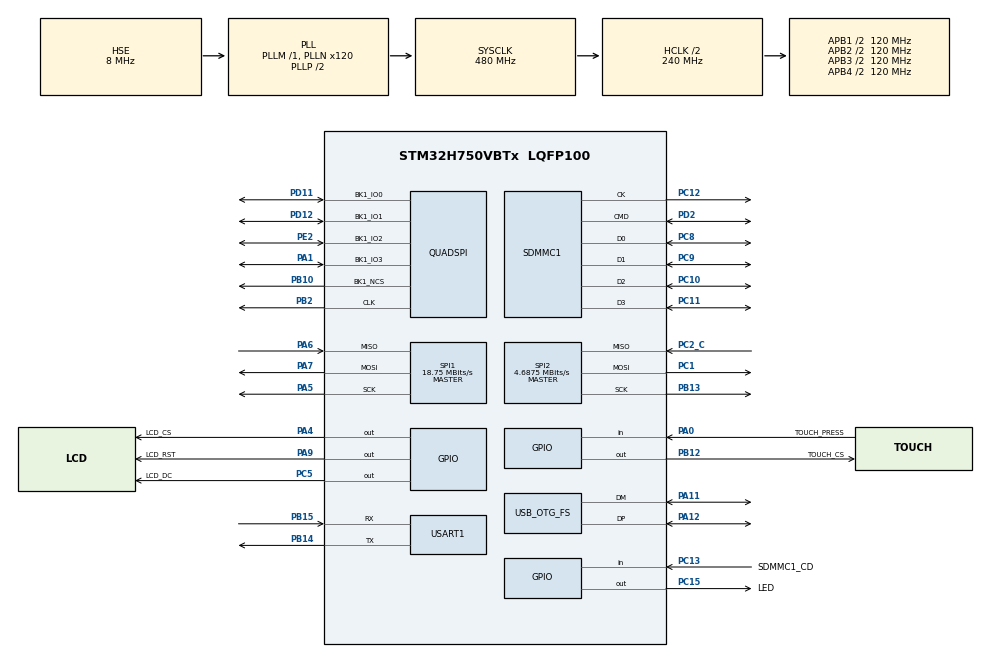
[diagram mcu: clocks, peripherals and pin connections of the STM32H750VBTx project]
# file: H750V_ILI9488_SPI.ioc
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Mcu.Family=STM32H7
PA6.Mode=Full_Duplex_Master
RCC.CortexFreq_Value=480000000
SPI1.VirtualType=VM_MASTER
SPI2.VirtualType=VM_MASTER
PB10.Mode=Single Bank 1
RCC.HPRE=RCC_HCLK_DIV2
PH0-OSC_IN\ (PH0).Signal=RCC_OSC_IN
PC10.Signal=SDMMC1_D2
PC12.Signal=SDMMC1_CK
RCC.PLLFRACN=0
PA0.GPIO_Label=TOUCH_PRESS
PA11.Mode=Device_Only
RCC.PLL2FRACN=6144
PC13.GPIO_Label=SDMMC1_CD
PB15.Signal=USART1_RX
PB13.Signal=SPI2_SCK
RCC.SYSCLKSource=RCC_SYSCLKSOURCE_PLLCLK
ProjectManager.StackSize=0x1000
RCC.SPI123CLockSelection=RCC_SPI123CLKSOURCE_PLL2
PA14\ (JTCK/SWCLK).Signal=DEBUG_JTCK-SWCLK
PA12.Signal=USB_OTG_FS_DP
SPI1.Direction=SPI_DIRECTION_2LINES
RCC.HCLKFreq_Value=240000000
PE2.Mode=Single Bank 1
SPI1.CalculateBaudRate=18.75 MBits/s
PC2_C.Signal=SPI2_MISO
SPI2.BaudRatePrescaler=SPI_BAUDRATEPRESCALER_32
PH1-OSC_OUT\ (PH1).Mode=HSE-External-Oscillator
RCC.HSE_VALUE=8000000
PB2.Signal=QUADSPI_CLK
RCC.DIVM2=1
RCC.DIVM1=1
PB12.GPIO_Label=TOUCH_CS
PB14.Mode=Asynchronous
SPI1.DataSize=SPI_DATASIZE_8BIT
PC9.Mode=SD_4_bits_Wide_bus
SPI2.CalculateBaudRate=4.6875 MBits/s
PE2.Signal=QUADSPI_BK1_IO2
PA14\ (JTCK/SWCLK).Mode=Serial_Wire
PA0.Signal=GPIO_Input
RCC.APB3Freq_Value=120000000
Mcu.Package=LQFP100
PA6.Signal=SPI1_MISO
SPI2.Mode=SPI_MODE_MASTER
RCC.PLL3FRACN=0
RCC.D1PPRE=RCC_APB3_DIV2
RCC.SDMMC1CLockSelection=RCC_SDMMCCLKSOURCE_PLL2
PD12.Signal=QUADSPI_BK1_IO1
USB_OTG_FS.VirtualMode=Device_Only
PC11.Mode=SD_4_bits_Wide_bus
RCC.APB4Freq_Value=120000000
SPI2.Direction=SPI_DIRECTION_2LINES
PC5.Signal=GPIO_Output
PB13.Mode=Full_Duplex_Master
SPI1.BaudRatePrescaler=SPI_BAUDRATEPRESCALER_8
PH0-OSC_IN\ (PH0).Mode=HSE-External-Oscillator
PA4.GPIO_Label=LCD_CS
PA5.Mode=Full_Duplex_Master
RCC.DIVQ1=20
PA7.Mode=Full_Duplex_Master
PA13\ (JTMS/SWDIO).Mode=Serial_Wire
PC11.Signal=SDMMC1_D3
PA9.GPIO_Label=LCD_RST
PC13.Signal=GPIO_Input
PC8.Signal=SDMMC1_D0
PC10.Mode=SD_4_bits_Wide_bus
RCC.D2PPRE2=RCC_APB2_DIV2
RCC.D2PPRE1=RCC_APB1_DIV2
RCC.DIVP2=1
VP_RNG_VS_RNG.Mode=RNG_Activate
PH1-OSC_OUT\ (PH1).Signal=RCC_OSC_OUT
USART1.VirtualMode-Asynchronous=VM_ASYNC
PA4.PinState=GPIO_PIN_SET
ProjectManager.TargetToolchain=Makefile
PC15-OSC32_OUT\ (OSC32_OUT).Signal=GPIO_Output
PA9.Signal=GPIO_Output
RCC.DIVN2=18
RCC.DIVN1=120
PA9.PinState=GPIO_PIN_SET
PC2_C.Mode=Full_Duplex_Master
RCC.USBFreq_Value=48000000
PA1.Signal=QUADSPI_BK1_IO3
PB10.Signal=QUADSPI_BK1_NCS
PB14.Signal=USART1_TX
PD2.Mode=SD_4_bits_Wide_bus
PA5.Signal=SPI1_SCK
PC12.Mode=SD_4_bits_Wide_bus
board=custom
PB15.Mode=Asynchronous
RCC.APB2Freq_Value=120000000
PA1.Mode=Single Bank 1
SPI1.Mode=SPI_MODE_MASTER
RCC.ADCFreq_Value=150000000
Mcu.Name=STM32H750VBTx
PC8.Mode=SD_4_bits_Wide_bus
PA4.Signal=GPIO_Output
RCC.SYSCLKFreq_VALUE=480000000
PD12.Mode=Single Bank 1
PC5.PinState=GPIO_PIN_SET
PA12.Mode=Device_Only
PC15-OSC32_OUT\ (OSC32_OUT).GPIO_Label=LED
PC5.GPIO_Label=LCD_DC
PD11.Signal=QUADSPI_BK1_IO0
PB2.Mode=Single Bank 1
RCC.QSPICLockSelection=RCC_QSPICLKSOURCE_PLL2
PA11.Signal=USB_OTG_FS_DM
ProjectManager.HeapSize=0x200
PD11.Mode=Single Bank 1
NVIC.PriorityGroup=NVIC_PRIORITYGROUP_4
RCC.D3PPRE=RCC_APB4_DIV2
SPI2.DataSize=SPI_DATASIZE_8BIT
PC9.Signal=SDMMC1_D1
PD2.Signal=SDMMC1_CMD
RCC.APB1Freq_Value=120000000
RCC.DIVR2=1
PC1.Signal=SPI2_MOSI
PB12.Signal=GPIO_Output
PA13\ (JTMS/SWDIO).Signal=DEBUG_JTMS-SWDIO
PC1.Mode=Full_Duplex_Master
PA7.Signal=SPI1_MOSI

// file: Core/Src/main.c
/* USER CODE BEGIN Header */
/**
  ******************************************************************************
  * @file           : main.c
  * @brief          : Main program body
  ******************************************************************************
  * @attention
  *
  * <h2><center>&copy; Copyright (c) 2020 STMicroelectronics.
  * All rights reserved.</center></h2>
  *
  * This software component is licensed by ST under BSD 3-Clause license,
  * the "License"; You may not use this file except in compliance with the
  * License. You may obtain a copy of the License at:
  *                        opensource.org/licenses/BSD-3-Clause
  *
  ******************************************************************************
  */
/* USER CODE END Header */
#include "main.h"
#include "quadspi.h"
#include "rng.h"
#include "sdmmc.h"
#include "spi.h"
#include "usart.h"
#include "usb_otg.h"
#include "gpio.h"

/* USER CODE BEGIN Includes */
//#include "lcd.h"
#include <stdio.h>
#include "ILI9488_SPI.h"
#include "TouchPanel.h"
#include "Hangle.h"

/* USER CODE END Includes */

void SystemClock_Config(void);

/* USER CODE BEGIN 0 */
void HAL_SYSTICK_Callback(void)
{
	static int cnt = -1000;

	cnt++;
	if(cnt > 500)
	{
		cnt = 0;
		HAL_GPIO_TogglePin(LED_GPIO_Port, LED_Pin);
	}
}

void Demo_Line(void)
{
	uint16_t i, x1, y1, x2, y2, color, w, h;
	uint32_t rn;

	w = ILI9488_GetWidth();
	h = ILI9488_GetHeight();

	ILI9488_Fill_Screen(WHITE);

	for(i = 0; i < 500; i++)
	{
		HAL_RNG_GenerateRandomNumber(&hrng, &rn);
		x1 = rn % w;
		HAL_RNG_GenerateRandomNumber(&hrng, &rn);
		x2 = rn % w;
		HAL_RNG_GenerateRandomNumber(&hrng, &rn);
		y1 = rn % h;
		HAL_RNG_GenerateRandomNumber(&hrng, &rn);
		y2 = rn % h;
		HAL_RNG_GenerateRandomNumber(&hrng, &rn);
		color = rn % 0x10000;

		ILI9488_Draw_line(x1, y1, x2, y2, color);
	}
}

void Demo_Circle(void)
{
	uint16_t i, x, y, r, color, w, h;
	uint32_t rn;

	w = ILI9488_GetWidth();
	h = ILI9488_GetHeight();

	ILI9488_Fill_Screen(WHITE);

	for(i = 0; i < 500; i++)
	{
		HAL_RNG_GenerateRandomNumber(&hrng, &rn);
		x = rn % w;
		HAL_RNG_GenerateRandomNumber(&hrng, &rn);
		y = rn % h;
		HAL_RNG_GenerateRandomNumber(&hrng, &rn);
		r = rn % 100;
		HAL_RNG_GenerateRandomNumber(&hrng, &rn);
		color = rn % 0x10000;

		ILI9488_Draw_Circle(x, y, r, color);
	}
}

void Demo_FillRect(void)
{
	uint16_t i, x, y, w, h, color, W, H;
	uint32_t rn;

	W = ILI9488_GetWidth();
	H = ILI9488_GetHeight();

	ILI9488_Fill_Screen(WHITE);

	for(i = 0; i < 100; i++)
	{
		HAL_RNG_GenerateRandomNumber(&hrng, &rn);
		x = rn % W;
		HAL_RNG_GenerateRandomNumber(&hrng, &rn);
		w = rn % W;
		if(w == 0) w = 1;
		HAL_RNG_GenerateRandomNumber(&hrng, &rn);
		y = rn % H;
		HAL_RNG_GenerateRandomNumber(&hrng, &rn);
		h = rn % H;
		if(h == 0) h = 1;
		HAL_RNG_GenerateRandomNumber(&hrng, &rn);
		color = rn % 0x10000;

		ILI9488_Draw_Fill_Rectangle(x, y, w, h, color);
	}
}

void Demo_Text(void)
{
	ILI9488_Fill_Screen(OLIVE);

	ILI9488_Puts26x48(0, 0,   (uint8_t *)"Hello World.", TFT_STRING_MODE_BACKGROUND);
	ILI9488_Puts18x32(0, 48,  (uint8_t *)"Hello World.", TFT_STRING_MODE_BACKGROUND);
	ILI9488_Puts14x24(0, 80,  (uint8_t *)"Hello World.", TFT_STRING_MODE_BACKGROUND);
	ILI9488_Puts8x16( 0, 104, (uint8_t *)"Hello World.", TFT_STRING_MODE_BACKGROUND);

	ILI9488_SetTextColor(BLUE);
	ILI9488_SetBackgroundColor(GREEN);
	ILI9488_Puts14x24(0, 120,  (uint8_t *)"Blue Text.", TFT_STRING_MODE_BACKGROUND);
	ILI9488_Puts14x24(0, 150,  (uint8_t *)"No Background Text.", TFT_STRING_MODE_NO_BACKGROUND);

	DisplayHangle(0, 180, "한글입니다. ABCDEFG");
}

/* USER CODE END 0 */

int main(void)
{
  /* USER CODE BEGIN 1 */
	char str[100];
	Point Pos, old_Pos;

  /* USER CODE END 1 */

  /* MCU Configuration--------------------------------------------------------*/

  /* Reset of all peripherals, Initializes the Flash interface and the Systick. */
  HAL_Init();

  /* Configure the system clock */
  SystemClock_Config();

  /* Initialize all configured peripherals */
  MX_GPIO_Init();
  MX_QUADSPI_Init();
  MX_SDMMC1_SD_Init();
  MX_USART1_UART_Init();
  MX_USB_OTG_FS_PCD_Init();
  MX_SPI1_Init();
  MX_SPI2_Init();
  MX_RNG_Init();
  /* USER CODE BEGIN 2 */
  // LCD_Init();
  ILI9488_Init();

  ILI9488_Fill_Screen(RED);
  HAL_Delay(500);
  ILI9488_Fill_Screen(GREEN);
  HAL_Delay(500);
  ILI9488_Fill_Screen(BLUE);
  HAL_Delay(500);
  ILI9488_Fill_Screen(YELLOW);
  HAL_Delay(500);

  Demo_Line();
  HAL_Delay(500);
  Demo_Circle();
  HAL_Delay(500);
  Demo_FillRect();
  HAL_Delay(500);
  Demo_Text();
  HAL_Delay(2500);

  /* USER CODE END 2 */

  /* Infinite loop */
  /* USER CODE BEGIN WHILE */
  ILI9488_Fill_Screen(WHITE);
  ILI9488_Puts14x24(0, 0, (uint8_t *)"TOUCH TEST ", TFT_STRING_MODE_BACKGROUND);
  while (1)
  {
  	if(GetTouchStatus(&Pos))
  	{
  		if((old_Pos.x != Pos.x) || (old_Pos.y != Pos.y))
  		{
  			ILI9488_Draw_line(0, old_Pos.y, ILI9488_GetWidth(), old_Pos.y, WHITE);
  			ILI9488_Draw_line(old_Pos.x, 0, old_Pos.x, ILI9488_GetHeight(), WHITE);

  			old_Pos = Pos;

  			ILI9488_Draw_line(0, Pos.y, ILI9488_GetWidth(), Pos.y, BLACK);
  			ILI9488_Draw_line(Pos.x, 0, Pos.x, ILI9488_GetHeight(), BLACK);

  			sprintf(str, "X:%4d Y:%4d", Pos.x, Pos.y);
  			ILI9488_Puts14x24(0, 0, (uint8_t *)str, TFT_STRING_MODE_BACKGROUND);
  		}
  	}
  	HAL_Delay(50);

    /* USER CODE END WHILE */

  }
}

void SystemClock_Config(void)
{
  RCC_OscInitTypeDef RCC_OscInitStruct = {0};
  RCC_ClkInitTypeDef RCC_ClkInitStruct = {0};
  RCC_PeriphCLKInitTypeDef PeriphClkInitStruct = {0};

  /** Supply configuration update enable
  */
  HAL_PWREx_ConfigSupply(PWR_LDO_SUPPLY);
  /** Configure the main internal regulator output voltage
  */
  __HAL_PWR_VOLTAGESCALING_CONFIG(PWR_REGULATOR_VOLTAGE_SCALE0);

  while(!__HAL_PWR_GET_FLAG(PWR_FLAG_VOSRDY)) {}
  /** Macro to configure the PLL clock source
  */
  __HAL_RCC_PLL_PLLSOURCE_CONFIG(RCC_PLLSOURCE_HSE);
  /** Initializes the RCC Oscillators according to the specified parameters
  * in the RCC_OscInitTypeDef structure.
  */
  RCC_OscInitStruct.OscillatorType = RCC_OSCILLATORTYPE_HSI48|RCC_OSCILLATORTYPE_HSE;
  RCC_OscInitStruct.HSEState = RCC_HSE_ON;
  RCC_OscInitStruct.HSI48State = RCC_HSI48_ON;
  RCC_OscInitStruct.PLL.PLLState = RCC_PLL_ON;
  RCC_OscInitStruct.PLL.PLLSource = RCC_PLLSOURCE_HSE;
  RCC_OscInitStruct.PLL.PLLM = 1;
  RCC_OscInitStruct.PLL.PLLN = 120;
  RCC_OscInitStruct.PLL.PLLP = 2;
  RCC_OscInitStruct.PLL.PLLQ = 20;
  RCC_OscInitStruct.PLL.PLLR = 2;
  RCC_OscInitStruct.PLL.PLLRGE = RCC_PLL1VCIRANGE_3;
  RCC_OscInitStruct.PLL.PLLVCOSEL = RCC_PLL1VCOWIDE;
  RCC_OscInitStruct.PLL.PLLFRACN = 0;
  if (HAL_RCC_OscConfig(&RCC_OscInitStruct) != HAL_OK)
  {
    Error_Handler();
  }
  /** Initializes the CPU, AHB and APB buses clocks
  */
  RCC_ClkInitStruct.ClockType = RCC_CLOCKTYPE_HCLK|RCC_CLOCKTYPE_SYSCLK
                              |RCC_CLOCKTYPE_PCLK1|RCC_CLOCKTYPE_PCLK2
                              |RCC_CLOCKTYPE_D3PCLK1|RCC_CLOCKTYPE_D1PCLK1;
  RCC_ClkInitStruct.SYSCLKSource = RCC_SYSCLKSOURCE_PLLCLK;
  RCC_ClkInitStruct.SYSCLKDivider = RCC_SYSCLK_DIV1;
  RCC_ClkInitStruct.AHBCLKDivider = RCC_HCLK_DIV2;
  RCC_ClkInitStruct.APB3CLKDivider = RCC_APB3_DIV2;
  RCC_ClkInitStruct.APB1CLKDivider = RCC_APB1_DIV2;
  RCC_ClkInitStruct.APB2CLKDivider = RCC_APB2_DIV2;
  RCC_ClkInitStruct.APB4CLKDivider = RCC_APB4_DIV2;

  if (HAL_RCC_ClockConfig(&RCC_ClkInitStruct, FLASH_LATENCY_4) != HAL_OK)
  {
    Error_Handler();
  }
  PeriphClkInitStruct.PeriphClockSelection = RCC_PERIPHCLK_USART1|RCC_PERIPHCLK_RNG
                              |RCC_PERIPHCLK_SPI1|RCC_PERIPHCLK_SPI2
                              |RCC_PERIPHCLK_SDMMC|RCC_PERIPHCLK_USB
                              |RCC_PERIPHCLK_QSPI;
  PeriphClkInitStruct.PLL2.PLL2M = 1;
  PeriphClkInitStruct.PLL2.PLL2N = 18;
  PeriphClkInitStruct.PLL2.PLL2P = 1;
  PeriphClkInitStruct.PLL2.PLL2Q = 2;
  PeriphClkInitStruct.PLL2.PLL2R = 1;
  PeriphClkInitStruct.PLL2.PLL2RGE = RCC_PLL2VCIRANGE_3;
  PeriphClkInitStruct.PLL2.PLL2VCOSEL = RCC_PLL2VCOMEDIUM;
  PeriphClkInitStruct.PLL2.PLL2FRACN = 6144;
  PeriphClkInitStruct.QspiClockSelection = RCC_QSPICLKSOURCE_PLL2;
  PeriphClkInitStruct.SdmmcClockSelection = RCC_SDMMCCLKSOURCE_PLL2;
  PeriphClkInitStruct.Spi123ClockSelection = RCC_SPI123CLKSOURCE_PLL2;
  PeriphClkInitStruct.Usart16ClockSelection = RCC_USART16CLKSOURCE_D2PCLK2;
  PeriphClkInitStruct.RngClockSelection = RCC_RNGCLKSOURCE_HSI48;
  PeriphClkInitStruct.UsbClockSelection = RCC_USBCLKSOURCE_PLL;
  if (HAL_RCCEx_PeriphCLKConfig(&PeriphClkInitStruct) != HAL_OK)
  {
    Error_Handler();
  }
  /** Enable USB Voltage detector
  */
  HAL_PWREx_EnableUSBVoltageDetector();
}

void Error_Handler(void)
{
}

/************************ (C) COPYRIGHT STMicroelectronics *****END OF FILE****/
